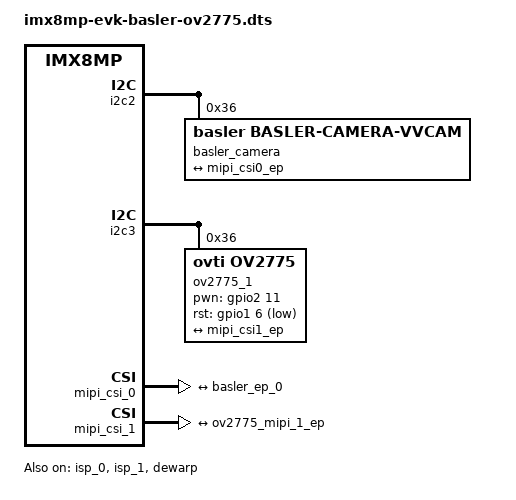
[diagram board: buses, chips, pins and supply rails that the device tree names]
// SPDX-License-Identifier: (GPL-2.0+ OR MIT)
/*
 * Copyright 2020-2021 NXP
 *
 * This program is free software; you can redistribute it and/or
 * modify it under the terms of the GNU General Public License
 * as published by the Free Software Foundation; either version 2
 * of the License, or (at your option) any later version.
 *
 * This program is distributed in the hope that it will be useful,
 * but WITHOUT ANY WARRANTY; without even the implied warranty of
 * MERCHANTABILITY or FITNESS FOR A PARTICULAR PURPOSE.  See the
 * GNU General Public License for more details.
 */

#include "imx8mp-evk.dts"

&iomuxc {
	pinctrl_csi1_pwn: csi1_pwn_grp {
		fsl,pins = <
			MX8MP_IOMUXC_SAI1_RXC__GPIO4_IO01	0x10
		>;
	};

	pinctrl_csi1_rst: csi1_rst_grp {
		fsl,pins = <
			MX8MP_IOMUXC_SAI1_RXFS__GPIO4_IO00	0x10
		>;
	};
};

&i2c2 {
	/delete-node/ov5640_mipi@3c;

	basler_camera@36 {
		compatible = "basler,basler-camera-vvcam", "basler-camera-vvcam";
		reg = <0x36>;
		csi_id = <0x00>;
		status = "okay";

		port {
			basler_ep_0: endpoint {
				data-lanes = <1 2 3 4>;
				clock-lanes = <0>;
				link-frequencies = /bits/ 64 <750000000>;

				max-lane-frequency = /bits/ 64 <750000000>;
				max-pixel-frequency = /bits/ 64 <266000000>;
				max-data-rate = /bits/ 64 <0>;

				remote-endpoint = <&mipi_csi0_ep>;
			};
		};
	};
};

&i2c3 {
	/delete-node/ov5640_mipi@3c;

	ov2775_1: ov2775_mipi@36 {
		compatible = "ovti,ov2775";
		reg = <0x36>;
		pinctrl-names = "default";
		pinctrl-0 = <&pinctrl_csi1_pwn>, <&pinctrl_csi1_rst>, <&pinctrl_csi_mclk>;
		clocks = <&clk IMX8MP_CLK_IPP_DO_CLKO2>;
		clock-names = "csi_mclk";
		assigned-clocks = <&clk IMX8MP_CLK_IPP_DO_CLKO2>;
		assigned-clock-parents = <&clk IMX8MP_CLK_24M>;
		assigned-clock-rates = <24000000>;
		pwn-gpios = <&gpio2 11 GPIO_ACTIVE_HIGH>;
		rst-gpios = <&gpio1 6 GPIO_ACTIVE_LOW>;
		csi_id = <1>;
		mclk = <24000000>;
		mclk_source = <0>;
		status = "okay";

		port {
			ov2775_mipi_1_ep: endpoint {
				data-lanes = <1 2 3 4>;
				clock-lanes = <0>;
				max-pixel-frequency = /bits/ 64 <266000000>;

				remote-endpoint = <&mipi_csi1_ep>;
			};
		};
	};

};

&mipi_csi_0 {
	status = "okay";

	port@0 {
		mipi_csi0_ep: endpoint {
			remote-endpoint = <&basler_ep_0>;
			data-lanes = <4>;
			csis-hs-settle = <16>;
		};
	};
};

&mipi_csi_1 {
	status = "okay";

	port@1 {
		mipi_csi1_ep: endpoint {
			remote-endpoint = <&ov2775_mipi_1_ep>;
			data-lanes = <4>;
			csis-hs-settle = <16>;
		};
	};
};

&isi_0 {
	status = "disabled";
};

&isi_1 {
	status = "disabled";
};

&isp_0 {
	status = "okay";
};

&isp_1 {
	status = "okay";
};

&dewarp {
	status = "okay";
};
